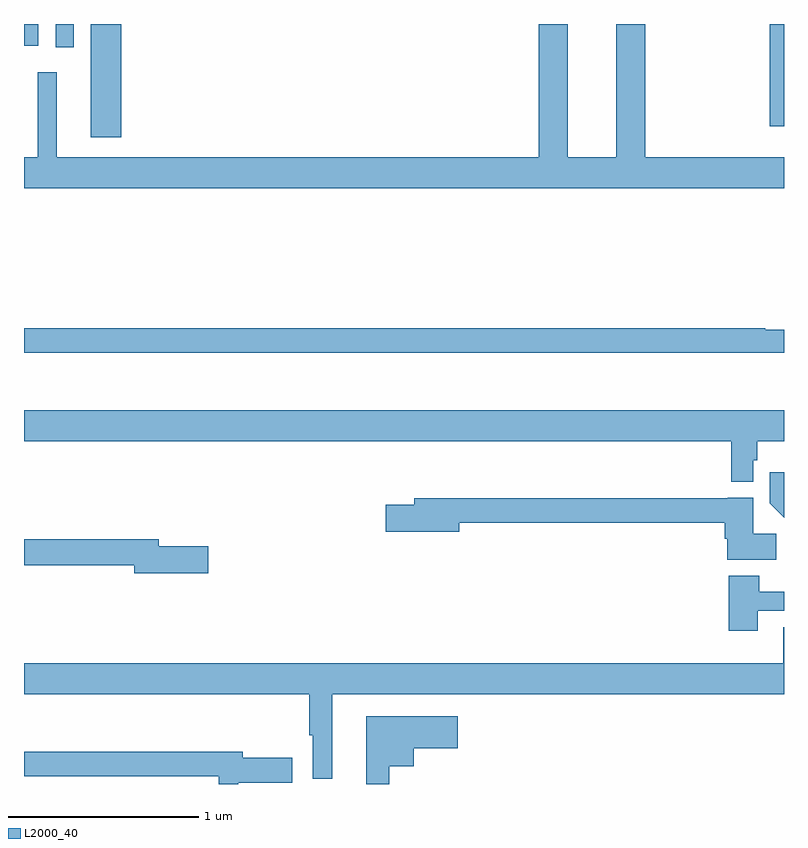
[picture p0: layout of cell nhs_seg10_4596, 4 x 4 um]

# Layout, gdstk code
import gdstk
lib = gdstk.Library(unit=1e-6, precision=1e-09)
def R(c, l, rs):  # rectangles x0, y0, x1, y1
    for r in rs: c.add(gdstk.rectangle(r[:2], r[2:], *l))
def P(c, l, *ps):  # polygons
    for p in ps: c.add(gdstk.Polygon(p, *l))
L2000_40 = (2000, 40)

nhs_seg10_4596 = lib.new_cell('nhs_seg10_4596')
R(nhs_seg10_4596, L2000_40, [(373.352,1313.904,373.511,1314.5), (376.926,1313.961,377,1314.5), (373.167,1314.378,373.263,1314.5), (373,1314.386,373.075,1314.5)])
P(nhs_seg10_4596, L2000_40, [(377,1313.8),(376.271,1313.8),(376.271,1314.5),(376.118,1314.5),(376.118,1313.8),(375.862,1313.8),(375.862,1314.5),(375.71,1314.5),(375.71,1313.8),(373.172,1313.8),(373.172,1314.247),(373.073,1314.247),(373.073,1313.8),(373,1313.8),(373,1313.636),(377,1313.636)],
  [(377,1312.891),(376.9,1312.891),(376.9,1312.898),(373,1312.898),(373,1312.77),(377,1312.77)],
  [(376.839,1312.203),(376.859,1312.203),(376.859,1312.304),(377,1312.304),(377,1312.468),(373,1312.468),(373,1312.304),(376.723,1312.304),(376.723,1312.091),(376.839,1312.091)],
  [(377,1312.141),(376.924,1312.141),(376.924,1311.978),(377,1311.902)],
  [(376.958,1311.818),(376.837,1311.818),(376.837,1312.006),(376.704,1312.006),(376.704,1312.003),(375.053,1312.003),(375.053,1311.969),(374.904,1311.969),(374.904,1311.827),(375.292,1311.827),(375.292,1311.874),(376.688,1311.874),(376.688,1311.791),(376.7,1311.791),(376.7,1311.68),(376.958,1311.68)],
  [(373.969,1311.752),(373.708,1311.752),(373.708,1311.788),(373,1311.788),(373,1311.652),(373.58,1311.652),(373.58,1311.61),(373.969,1311.61)],
  [(376.861,1311.411),(377,1311.411),(377,1311.511),(376.869,1311.511),(376.869,1311.595),(376.709,1311.595),(376.709,1311.306),(376.861,1311.306)],
  [(374.623,1310.972),(377,1310.972),(377,1311.326),(376.997,1311.326),(376.997,1311.136),(373,1311.136),(373,1310.972),(374.502,1310.972),(374.502,1310.756),(374.519,1310.756),(374.519,1310.528),(374.623,1310.528)],
  [(374.923,1310.594),(375.052,1310.594),(375.052,1310.687),(375.283,1310.687),(375.283,1310.857),(374.801,1310.857),(374.801,1310.5),(374.923,1310.5)],
  [(374.128,1310.507),(374.413,1310.507),(374.413,1310.637),(374.152,1310.637),(374.152,1310.671),(373,1310.671),(373,1310.542),(374.024,1310.542),(374.024,1310.5),(374.128,1310.5)])

lib.write_gds('nhs_seg10_4596.gds')
